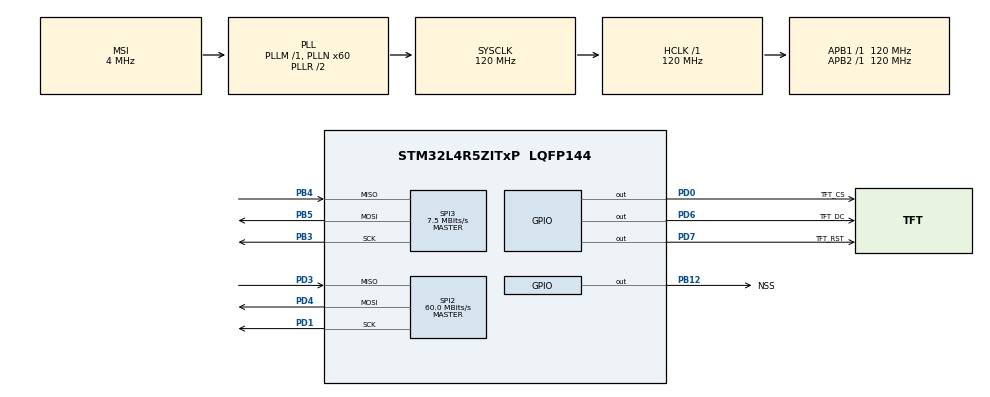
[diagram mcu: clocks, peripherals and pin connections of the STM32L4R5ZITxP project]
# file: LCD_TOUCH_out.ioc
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Mcu.Family=STM32L4
Mcu.Name=STM32L4R5ZITxP
Mcu.Package=LQFP144
NVIC.PriorityGroup=NVIC_PRIORITYGROUP_4
PB12.GPIO_Label=NSS
PB12.PinState=GPIO_PIN_SET
PB12.Signal=GPIO_Output
PB3\ (JTDO/TRACESWO).Mode=Full_Duplex_Master
PB3\ (JTDO/TRACESWO).Signal=SPI3_SCK
PB4\ (NJTRST).Mode=Full_Duplex_Master
PB4\ (NJTRST).Signal=SPI3_MISO
PB5.Mode=Full_Duplex_Master
PB5.Signal=SPI3_MOSI
PD0.GPIO_Label=TFT_CS
PD0.Signal=GPIO_Output
PD1.Mode=Full_Duplex_Master
PD1.Signal=SPI2_SCK
PD3.Mode=Full_Duplex_Master
PD3.Signal=SPI2_MISO
PD4.Mode=Full_Duplex_Master
PD4.Signal=SPI2_MOSI
PD6.GPIO_Label=TFT_DC
PD6.Signal=GPIO_Output
PD7.GPIO_Label=TFT_RST
PD7.Signal=GPIO_Output
ProjectManager.HeapSize=0x200
ProjectManager.StackSize=0x400
ProjectManager.TargetToolchain=STM32CubeIDE
RCC.ADCFreq_Value=16000000
RCC.AHBFreq_Value=120000000
RCC.APB1Freq_Value=120000000
RCC.APB1TimFreq_Value=120000000
RCC.APB2Freq_Value=120000000
RCC.APB2TimFreq_Value=120000000
RCC.CortexFreq_Value=120000000
RCC.HCLKFreq_Value=120000000
RCC.HSE_VALUE=8000000
RCC.HSI48_VALUE=48000000
RCC.HSI_VALUE=16000000
RCC.LSE_VALUE=32768
RCC.MSI_VALUE=4000000
RCC.PLLN=60
RCC.SYSCLKFreq_VALUE=120000000
RCC.SYSCLKSource=RCC_SYSCLKSOURCE_PLLCLK
RCC.USBFreq_Value=16000000
RCC.VCOOutputFreq_Value=240000000
SPI2.BaudRatePrescaler=SPI_BAUDRATEPRESCALER_2
SPI2.CLKPhase=SPI_PHASE_1EDGE
SPI2.CLKPolarity=SPI_POLARITY_LOW
SPI2.CalculateBaudRate=60.0 MBits/s
SPI2.DataSize=SPI_DATASIZE_8BIT
SPI2.Direction=SPI_DIRECTION_2LINES
SPI2.Mode=SPI_MODE_MASTER
SPI2.VirtualType=VM_MASTER
SPI3.BaudRatePrescaler=SPI_BAUDRATEPRESCALER_16
SPI3.CalculateBaudRate=7.5 MBits/s
SPI3.DataSize=SPI_DATASIZE_8BIT
SPI3.Direction=SPI_DIRECTION_2LINES
SPI3.Mode=SPI_MODE_MASTER
SPI3.VirtualType=VM_MASTER
board=custom

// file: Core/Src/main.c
/* USER CODE BEGIN Header */
/**
  ******************************************************************************
  * @file           : main.c
  * @brief          : Main program body
  ******************************************************************************
  * @attention
  *
  * Copyright (c) 2024 STMicroelectronics.
  * All rights reserved.
  *
  * This software is licensed under terms that can be found in the LICENSE file
  * in the root directory of this software component.
  * If no LICENSE file comes with this software, it is provided AS-IS.
  *
  ******************************************************************************
  */
/* USER CODE END Header */
#include "main.h"

/* USER CODE BEGIN Includes */
#include "008_Open_Sans_Bold.h"
#include "009_Open_Sans_Bold.h"
#include "010_Open_Sans_Bold.h"
#include "012_Open_Sans_Bold.h"
#include "014_Open_Sans_Bold.h"
#include "016_Open_Sans_Bold.h"
#include "018_Open_Sans_Bold.h"
#include "020_Open_Sans_Bold.h"
#include "022_Open_Sans_Bold.h"
#include "024_Open_Sans_Bold.h"
#include "026_Open_Sans_Bold.h"
#include "028_Open_Sans_Bold.h"
#include "036_Open_Sans_Bold.h"
#include "048_Open_Sans_Bold.h"
#include "072_Open_Sans_Bold.h"
#include "096_Open_Sans_Bold.h"
#include "112_Open_Sans_Bold.h"
#include "128_Open_Sans_Bold.h"

#define _Open_Sans_Bold_8      &Open_Sans_Bold_8
#define _Open_Sans_Bold_9      &Open_Sans_Bold_9
#define _Open_Sans_Bold_10     &Open_Sans_Bold_10
#define _Open_Sans_Bold_11     &Open_Sans_Bold_11
#define _Open_Sans_Bold_12      &Open_Sans_Bold_12
#define _Open_Sans_Bold_14      &Open_Sans_Bold_14
#define _Open_Sans_Bold_16      &Open_Sans_Bold_16
#define _Open_Sans_Bold_18      &Open_Sans_Bold_18
#define _Open_Sans_Bold_20      &Open_Sans_Bold_20
#define _Open_Sans_Bold_22      &Open_Sans_Bold_22
#define _Open_Sans_Bold_24      &Open_Sans_Bold_24
#define _Open_Sans_Bold_26      &Open_Sans_Bold_26
#define _Open_Sans_Bold_28      &Open_Sans_Bold_28
#define _Open_Sans_Bold_36      &Open_Sans_Bold_36
#define _Open_Sans_Bold_48      &Open_Sans_Bold_48
#define _Open_Sans_Bold_72      &Open_Sans_Bold_72
#define _Open_Sans_Bold_96      &Open_Sans_Bold_96
#define _Open_Sans_Bold_112      &Open_Sans_Bold_112
#define _Open_Sans_Bold_128      &Open_Sans_Bold_128

/* USER CODE END Includes */

SPI_HandleTypeDef hspi2;
SPI_HandleTypeDef hspi3;

void SystemClock_Config(void);
static void MX_GPIO_Init(void);
static void MX_SPI2_Init(void);
static void MX_SPI3_Init(void);

/* USER CODE BEGIN 0 */

/*
//1. Write Command to LCD
void ILI9488_SendCommand(uint8_t com)
{
	//*(__IO uint8_t *)(0x60000000) = com;
	uint8_t tmpCmd = com;
	//Set DC HIGH for COMMAND mode
	//HAL_GPIO_WritePin(tftDC_GPIO, tftDC_PIN, GPIO_PIN_RESET);
	HAL_GPIO_WritePin(GPIOD, GPIO_PIN_6, GPIO_PIN_RESET);
	//Put CS LOW
	HAL_GPIO_WritePin(GPIOD, GPIO_PIN_0, GPIO_PIN_RESET); //CHIP SELECT
	//Write byte using SPI
	HAL_SPI_Transmit(&hspi2, &tmpCmd, 1, 1);
	//SendByte(tmpCmd);
	//WaitLastData();
	HAL_GPIO_WritePin(GPIOD, GPIO_PIN_0, GPIO_PIN_SET);
	HAL_Delay(1);
	//Bring CS HIGH
	//HAL_GPIO_WritePin(tftCS_GPIO, tftCS_PIN, GPIO_PIN_SET);
}

//2. Write data to LCD
void ILI9488_SendData(uint8_t data)
{
	//*(__IO uint8_t *)(0x60000000) = com;
	uint8_t tmpCmd = data;
	//Set DC HIGH for COMMAND mode
	//HAL_GPIO_WritePin(tftDC_GPIO, tftDC_PIN, GPIO_PIN_RESET);
	HAL_GPIO_WritePin(GPIOD, GPIO_PIN_6, GPIO_PIN_SET);
	//Put CS LOW
	HAL_GPIO_WritePin(GPIOD, GPIO_PIN_0, GPIO_PIN_RESET); //CHIP SELECT
	//Write byte using SPI
	HAL_SPI_Transmit(&hspi2, &tmpCmd, 1, 1);
	//SendByte(tmpCmd);
	//WaitLastData();
	HAL_GPIO_WritePin(GPIOD, GPIO_PIN_0, GPIO_PIN_SET);
	//Bring CS HIGH
	//HAL_GPIO_WritePin(tftCS_GPIO, tftCS_PIN, GPIO_PIN_SET);
}
*/
/* USER CODE END 0 */

int main(void)
{

  /* USER CODE BEGIN 1 */
	int16_t x;
	int16_t y;

  /* USER CODE END 1 */

  /* MCU Configuration--------------------------------------------------------*/

  /* Reset of all peripherals, Initializes the Flash interface and the Systick. */
  HAL_Init();

  /* Configure the system clock */
  SystemClock_Config();

  /* Initialize all configured peripherals */
  MX_GPIO_Init();
  MX_SPI2_Init();
  MX_SPI3_Init();
  /* USER CODE BEGIN 2 */
/*
  //RESET LCD
	HAL_GPIO_WritePin(GPIOD, GPIO_PIN_7, GPIO_PIN_RESET);
	HAL_Delay(100);
	HAL_GPIO_WritePin(GPIOD, GPIO_PIN_7, GPIO_PIN_SET);
	HAL_Delay(50);

  //BEGIN INIT CODE (ngl don't know whats happening here but hope it works lel)
  	ILI9488_SendCommand(0XF7);
	ILI9488_SendData(0xA9);
	ILI9488_SendData(0x51);
	ILI9488_SendData(0x2C);
	ILI9488_SendData(0x82);
	ILI9488_SendCommand(0xC0);
	ILI9488_SendData(0x11);
	ILI9488_SendData(0x09);
	ILI9488_SendCommand(0xC1);
	ILI9488_SendData(0x41);
	ILI9488_SendCommand(0XC5);
	ILI9488_SendData(0x00);
	ILI9488_SendData(0x0A);
	ILI9488_SendData(0x80);
	ILI9488_SendCommand(0xB1);
	ILI9488_SendData(0xB0);
	ILI9488_SendData(0x11);
	ILI9488_SendCommand(0xB4);
	ILI9488_SendData(0x02);
	ILI9488_SendCommand(0xB6);
	ILI9488_SendData(0x02);
	ILI9488_SendData(0x42);
	ILI9488_SendCommand(0xB7);
	ILI9488_SendData(0xc6);
	ILI9488_SendCommand(0xBE);
	ILI9488_SendData(0x00);
	ILI9488_SendData(0x04);
	ILI9488_SendCommand(0xE9);
	ILI9488_SendData(0x00);
	ILI9488_SendCommand(0x36);
	ILI9488_SendData((1<<3)|(0<<7)|(1<<6)|(1<<5));
	ILI9488_SendCommand(0x3A);
	ILI9488_SendData(0x66);
	ILI9488_SendCommand(0xE0);
	ILI9488_SendData(0x00);
	ILI9488_SendData(0x07);
	ILI9488_SendData(0x10);
	ILI9488_SendData(0x09);
	ILI9488_SendData(0x17);
	ILI9488_SendData(0x0B);
	ILI9488_SendData(0x41);
	ILI9488_SendData(0x89);
	ILI9488_SendData(0x4B);
	ILI9488_SendData(0x0A);
	ILI9488_SendData(0x0C);
	ILI9488_SendData(0x0E);
	ILI9488_SendData(0x18);
	ILI9488_SendData(0x1B);
	ILI9488_SendData(0x0F);
	ILI9488_SendCommand(0XE1);
	ILI9488_SendData(0x00);
	ILI9488_SendData(0x17);
	ILI9488_SendData(0x1A);
	ILI9488_SendData(0x04);
	ILI9488_SendData(0x0E);
	ILI9488_SendData(0x06);
	ILI9488_SendData(0x2F);
	ILI9488_SendData(0x45);
	ILI9488_SendData(0x43);
	ILI9488_SendData(0x02);
	ILI9488_SendData(0x0A);
	ILI9488_SendData(0x09);
	ILI9488_SendData(0x32);
	ILI9488_SendData(0x36);
	ILI9488_SendData(0x0F);
	ILI9488_SendCommand(0x11);
	HAL_Delay(120);
	ILI9488_SendCommand(0x29);
	ILI9488_SendCommand(0x36);
	ILI9488_SendData((1<<3)|(0<<6)|(0<<7));//BGR==1,MY==0,MX==0,MV==0\

  	//SET DIRECTION [HORIZONTAL]
	ILI9488_SendCommand(0x2A); //set window size. x direction. In this case, we're taking the entire display.
	ILI9488_SendData(0>>8);
	ILI9488_SendData(0x00FF&0);
	ILI9488_SendData(479>>8);
	ILI9488_SendData(0x00FF&479>>8);

	ILI9488_SendCommand(0x2B); //set window size. y direction. In this case, we're taking the entire display.
	ILI9488_SendData(0>>8);
	ILI9488_SendData(0x00FF&0);
	ILI9488_SendData(479>>8);
	ILI9488_SendData(0x00FF&479	);

	ILI9488_SendCommand(0x2C); //display ram prep command

	//START WRITING WHITE SCREEN:
	unsigned int i,m;
	HAL_GPIO_WritePin(GPIOD, GPIO_PIN_0, GPIO_PIN_RESET); //LCD CHIP SELECT
	HAL_GPIO_WritePin(GPIOD, GPIO_PIN_7, GPIO_PIN_SET); //SET LCD TO RESET

	for(i=0;i<319;i++)
		{
	    for(m=0;m<479;m++)
	    {
				ILI9488_SendData((0x07FF>>8)&0xF8);//RED
				ILI9488_SendData((0x07FF>>3)&0xFC);//GREEN
				ILI9488_SendData(0x07FF<<3);//BLUE
			}
		}
	HAL_GPIO_WritePin(GPIOD, GPIO_PIN_0, GPIO_PIN_SET); //LCD CHIP SELECT
*/
  ILI9488_Init();
HAL_Delay(1000);
setRotation(1);
fillScreen(ILI9488_WHITE);

   uint16_t touchX = 0, touchY = 0;

  /* USER CODE END 2 */

  /* Infinite loop */
  /* USER CODE BEGIN WHILE */

   //the keys:

   uint8_t Sunday = 0;
   uint8_t Monday = 0;
   uint8_t Tuesday = 0;
   uint8_t Wednesday = 0;
   uint8_t Thursday = 0;
   uint8_t Friday = 0;
   uint8_t Saturday = 0;

   char addSunday[] = "SUN";
   char addMonday[] = "MON";
   char addTuesday[] = "TUE";
   char addWednesday[] = "WED";
   char addThursday[] = "THU";
   char addFriday[] = "FRI";
   char addSaturday[] = "SAT";
   char addNext[] = "Next";

   //Sunday
   fillRect(65, 30,75,75, ILI9488_RED);

   //Monday
   fillRect(150, 30,75,75, ILI9488_RED);

   //Tuesday
   fillRect(235, 30,75,75, ILI9488_RED);

   //Wednesday
   fillRect(320, 30,75,75, ILI9488_RED);

   //char addSunday[] = "S";

   //Thursday
   fillRect(105, 120,75,75, ILI9488_RED);

   //Friday
   fillRect(190, 120,75,75, ILI9488_RED);

   //Saturday
   fillRect(275, 120,75,75, ILI9488_RED);

   //Next button
   fillRect(50, 250, 350, 50, ILI9488_RED);

   LCD_Font(85, 70, addSunday, _Open_Sans_Bold_20, 1, ILI9488_BLACK);
   LCD_Font(160, 70, addMonday, _Open_Sans_Bold_20, 1, ILI9488_BLACK);
   LCD_Font(255, 70, addTuesday, _Open_Sans_Bold_20, 1, ILI9488_BLACK);
   LCD_Font(335, 70, addWednesday, _Open_Sans_Bold_20, 1, ILI9488_BLACK);
   LCD_Font(125, 160, addThursday, _Open_Sans_Bold_20, 1, ILI9488_BLACK);
   LCD_Font(210, 160, addFriday, _Open_Sans_Bold_20, 1, ILI9488_BLACK);
   LCD_Font(295, 160, addSaturday, _Open_Sans_Bold_20, 1, ILI9488_BLACK);

   LCD_Font(200, 285, addNext, _Open_Sans_Bold_20, 1, ILI9488_BLACK);

   //fillRect(125, 130,250,75, ILI9488_RED);
     //char scanFing[] = "Scan Fingerprint";

    //LCD_Font(165, 170, scanFing, _Open_Sans_Bold_20, 1, ILI9488_BLACK);

    //fillRect(125, 230,250,75, ILI9488_RED);
         //char delFing[] = "Delete Fingerprint";

    //LCD_Font(165, 270, delFing, _Open_Sans_Bold_20, 1, ILI9488_BLACK);

   //fillRect(125, 75,250,75, ILI9488_RED);
      //char addFing[] = "Add Fingerprint";

   //LCD_Font(165, 115, addFing, _Open_Sans_Bold_20, 1, ILI9488_BLACK);

  while (1)
  {
	  //ILI9488_printTextTest(greetings, 25, 25, ILI9488_BLACK, ILI9488_RED, 3);

	  char buf[20];
	  char buf1[20];
	  //char buf2[20];
	  //char buf3[20];

	  	  //ILI9488_printTextTest(buf1, 250 , 25, ILI9488_BLACK, ILI9488_WHITE, 2);
	  	 //ILI9488_printText(buf3, 150, 25, ILI9488_WHITE, ILI9488_WHITE, 1);
	  	  LCD_Font(25, 25, buf1, _Open_Sans_Bold_20, 1, ILI9488_WHITE);
	  	  touchX = getX();
	  	  touchY = getY();
	  	  sprintf(buf,"x=%3d y=%3d",touchX,touchY);
	  	  sprintf(buf1,"x=%3d y=%3d",touchX,touchY);
	  	  //sprintf(buf2,"count=%3d entered=%3d",count,entered[count]);
	  	  //sprintf(buf3,"count=%3d entered=%3d",count,entered[count]);

	  	  //ILI9488_printTextTest(buf1, 250, 25, ILI9488_BLACK,  ILI9488_WHITE, 2);
	  	  //ILI9488_printText(buf3, 150, 25, ILI9488_BLACK, ILI9488_BLACK, 1);
	  	  LCD_Font(25, 25, buf1, _Open_Sans_Bold_20, 1, ILI9488_BLACK);

	  	  //Sunday.
	  	  /*
	  	   6, 52
			88, 55
			6, 161
			88, 161
	  	   */

	  	  if(touchX >= 6 && touchX < 88 && touchY >= 55 && touchY < 161){
	  		  if(Sunday == 0){
	  			  fillRect(65, 30,75,75, ILI9488_GREEN);
	  			  LCD_Font(85, 70, addSunday, _Open_Sans_Bold_20, 1, ILI9488_BLACK);
	  			  Sunday = 1;
	  			  HAL_Delay(300);
	  		  }
	  		  else{
	  			  Sunday = 0;
	  			  fillRect(65, 30,75,75, ILI9488_RED);
	  			  LCD_Font(85, 70, addSunday, _Open_Sans_Bold_20, 1, ILI9488_BLACK);
	  			  HAL_Delay(300);

	  		  }
	  	  }

	  	  /*
	  	   * Monday
			88, 55
			221, 55
			88, 67
			221, 161
	  	   */
	  	if(touchX >= 88 && touchX < 221 && touchY >= 55 && touchY < 161){
	  		  		  if(Monday == 0){
	  		  			  fillRect(150, 30,75,75, ILI9488_GREEN);
	  		  			  LCD_Font(160, 70, addMonday, _Open_Sans_Bold_20, 1, ILI9488_BLACK);
	  		  			  Monday = 1;
	  		  			  HAL_Delay(300);
	  		  		  }
	  		  		  else{
	  		  			  Monday = 0;
	  		  			  fillRect(150, 30,75,75, ILI9488_RED);
	  		  			  LCD_Font(160, 70, addMonday, _Open_Sans_Bold_20, 1, ILI9488_BLACK);
	  		  			  HAL_Delay(300);

	  		  		  }
	  		  	  }

	  	  /*Tuesday
			248, 55
			299, 61
			245, 161
			299, 163*/
		if(touchX >= 245 && touchX < 299 && touchY >= 55 && touchY < 161){
		  		  		  if(Tuesday == 0){
		  		  			  fillRect(235, 30,75,75, ILI9488_GREEN);
		  		  			  LCD_Font(255, 70, addTuesday, _Open_Sans_Bold_20, 1, ILI9488_BLACK);
		  		  			  Tuesday = 1;
		  		  			  HAL_Delay(300);
		  		  		  }
		  		  		  else{
		  		  			  Tuesday = 0;
		  		  			  fillRect(235, 30,75,75, ILI9488_RED);
		  		  			  LCD_Font(255, 70, addTuesday, _Open_Sans_Bold_20, 1, ILI9488_BLACK);
		  		  			  HAL_Delay(300);

		  		  		  }
		  		  	  }

	  	/*Wednesday:
	  	 * 	308, 67
			390, 67
			317, 161
			392, 165
	  	 *
	  	 *
	  	 */
		if(touchX >= 308 && touchX < 390 && touchY >= 67 && touchY < 161){
				  		  		  if(Wednesday == 0){
				  		  			  fillRect(320, 30,75,75, ILI9488_GREEN);
				  		  			  LCD_Font(335, 70, addWednesday, _Open_Sans_Bold_20, 1, ILI9488_BLACK);
				  		  			  Wednesday = 1;
				  		  			  HAL_Delay(300);
				  		  		  }
				  		  		  else{
				  		  			  Wednesday = 0;
				  		  			  fillRect(320, 30,75,75, ILI9488_RED);
				  		  			  LCD_Font(335, 70, addWednesday, _Open_Sans_Bold_20, 1, ILI9488_BLACK);
				  		  			  HAL_Delay(300);

				  		  		  }
				  		  	  }

	  	/*:Thursday
	  		  	75, 165
				97, 165
				75, 207
				97, 207
	  		  	 */
		if(touchX >= 75 && touchX < 97 && touchY >= 165 && touchY < 207){
						  		  		  if(Thursday == 0){
						  		  			  fillRect(105, 120,75,75, ILI9488_GREEN);
						  		  			  LCD_Font(125, 160, addThursday, _Open_Sans_Bold_20, 1, ILI9488_BLACK);
						  		  			  Thursday = 1;
						  		  			  HAL_Delay(300);
						  		  		  }
						  		  		  else{
						  		  			  Thursday = 0;
						  		  			  fillRect(105, 120,75,75, ILI9488_RED);
						  		  			  LCD_Font(125, 160, addThursday, _Open_Sans_Bold_20, 1, ILI9488_BLACK);
						  		  			  HAL_Delay(300);

						  		  		  }
						  		  	  }

	  		  /*Friday:
	  		  * 184, 165
				184, 216
				258, 166
				258, 207
	  		  	  		  	 */
		if(touchX >= 184 && touchX < 258 && touchY >= 165 && touchY < 207){
								  		  		  if(Friday == 0){
								  		  			  fillRect(190, 120,75,75, ILI9488_GREEN);
								  		  			  LCD_Font(210, 160, addFriday, _Open_Sans_Bold_20, 1, ILI9488_BLACK);
								  		  			  Friday = 1;
								  		  			  HAL_Delay(300);
								  		  		  }
								  		  		  else{
								  		  			  Friday = 0;
								  		  			  fillRect(190, 120,75,75, ILI9488_RED);
								  		  			  LCD_Font(210, 160, addFriday, _Open_Sans_Bold_20, 1, ILI9488_BLACK);
								  		  			  HAL_Delay(300);

								  		  		  }
								  		  	  }

	  		/*Saturday:
	  		262, 165
			262, 207
			335, 165
			345, 207*/

			 if(touchX >= 262 && touchX < 335 && touchY >= 165 && touchY < 207){
															  if(Saturday == 0){
																  fillRect(275, 120,75,75, ILI9488_GREEN);
																  LCD_Font(295, 160, addSaturday, _Open_Sans_Bold_20, 1, ILI9488_BLACK);
																  Saturday = 1;
																  HAL_Delay(300);
															  }
															  else{
																  Saturday = 0;
																  fillRect(275, 120,75,75, ILI9488_RED);
																  LCD_Font(295, 160, addSaturday, _Open_Sans_Bold_20, 1, ILI9488_BLACK);
																  HAL_Delay(300);

															  }
														  }

	  		/*Next Button:
	  		 *6, 265
			399, 265
			6, 306
			392, 306
	  			  			  		  	  		  	 */
			 if(touchX >= 6 && touchX < 392 && touchY >= 265 && touchY < 306){
				 	 	fillRect(50, 250, 350, 50, ILI9488_GREEN);
				  		HAL_Delay(300);
				  		fillRect(50, 250, 350, 50, ILI9488_RED);
				  		LCD_Font(200, 285, addNext, _Open_Sans_Bold_20, 1, ILI9488_BLACK);
				  	  }

	  			  			  		  	  		  	/*else
	  			  			  		  	  		  		fillRect(200, 230,75,75, ILI9488_RED);*/

	  		/*9th box:
	  		 * 299, 242
	  		 * 381, 242
	  		 * 299, 309
	  		 * 372, 309
	  		 */
	  		//if(touchX >= 299 && touchX < 372 && touchY >= 242 && touchY < 309){
	  		//	fillRect(300, 230,75,75, ILI9488_GREEN);
	  		//	HAL_Delay(1000);
	  		//	entered[count] = 9;
	  		//		  			  		count++;
	  		//		  			  	if(count > 9)
	  		//		  			  		  			break;
	  		//}

	  			  			  			  		  	  		  	/*else
	  			  			  			  		  	  		  		fillRect(300, 230,75,75, ILI9488_RED);*/

	  		//HAL_Delay(1000);

    /* USER CODE END WHILE */

  }
}

void SystemClock_Config(void)
{
  RCC_OscInitTypeDef RCC_OscInitStruct = {0};
  RCC_ClkInitTypeDef RCC_ClkInitStruct = {0};

  /** Configure the main internal regulator output voltage
  */
  if (HAL_PWREx_ControlVoltageScaling(PWR_REGULATOR_VOLTAGE_SCALE1_BOOST) != HAL_OK)
  {
    Error_Handler();
  }

  /** Initializes the RCC Oscillators according to the specified parameters
  * in the RCC_OscInitTypeDef structure.
  */
  RCC_OscInitStruct.OscillatorType = RCC_OSCILLATORTYPE_MSI;
  RCC_OscInitStruct.MSIState = RCC_MSI_ON;
  RCC_OscInitStruct.MSICalibrationValue = 0;
  RCC_OscInitStruct.MSIClockRange = RCC_MSIRANGE_6;
  RCC_OscInitStruct.PLL.PLLState = RCC_PLL_ON;
  RCC_OscInitStruct.PLL.PLLSource = RCC_PLLSOURCE_MSI;
  RCC_OscInitStruct.PLL.PLLM = 1;
  RCC_OscInitStruct.PLL.PLLN = 60;
  RCC_OscInitStruct.PLL.PLLP = RCC_PLLP_DIV2;
  RCC_OscInitStruct.PLL.PLLQ = RCC_PLLQ_DIV2;
  RCC_OscInitStruct.PLL.PLLR = RCC_PLLR_DIV2;
  if (HAL_RCC_OscConfig(&RCC_OscInitStruct) != HAL_OK)
  {
    Error_Handler();
  }

  /** Initializes the CPU, AHB and APB buses clocks
  */
  RCC_ClkInitStruct.ClockType = RCC_CLOCKTYPE_HCLK|RCC_CLOCKTYPE_SYSCLK
                              |RCC_CLOCKTYPE_PCLK1|RCC_CLOCKTYPE_PCLK2;
  RCC_ClkInitStruct.SYSCLKSource = RCC_SYSCLKSOURCE_PLLCLK;
  RCC_ClkInitStruct.AHBCLKDivider = RCC_SYSCLK_DIV1;
  RCC_ClkInitStruct.APB1CLKDivider = RCC_HCLK_DIV1;
  RCC_ClkInitStruct.APB2CLKDivider = RCC_HCLK_DIV1;

  if (HAL_RCC_ClockConfig(&RCC_ClkInitStruct, FLASH_LATENCY_5) != HAL_OK)
  {
    Error_Handler();
  }
}

static void MX_SPI2_Init(void)
{

  /* SPI2 parameter configuration*/
  hspi2.Instance = SPI2;
  hspi2.Init.Mode = SPI_MODE_MASTER;
  hspi2.Init.Direction = SPI_DIRECTION_2LINES;
  hspi2.Init.DataSize = SPI_DATASIZE_8BIT;
  hspi2.Init.CLKPolarity = SPI_POLARITY_LOW;
  hspi2.Init.CLKPhase = SPI_PHASE_1EDGE;
  hspi2.Init.NSS = SPI_NSS_SOFT;
  hspi2.Init.BaudRatePrescaler = SPI_BAUDRATEPRESCALER_2;
  hspi2.Init.FirstBit = SPI_FIRSTBIT_MSB;
  hspi2.Init.TIMode = SPI_TIMODE_DISABLE;
  hspi2.Init.CRCCalculation = SPI_CRCCALCULATION_DISABLE;
  hspi2.Init.CRCPolynomial = 7;
  hspi2.Init.CRCLength = SPI_CRC_LENGTH_DATASIZE;
  hspi2.Init.NSSPMode = SPI_NSS_PULSE_ENABLE;
  if (HAL_SPI_Init(&hspi2) != HAL_OK)
  {
    Error_Handler();
  }

}

static void MX_SPI3_Init(void)
{

  /* SPI3 parameter configuration*/
  hspi3.Instance = SPI3;
  hspi3.Init.Mode = SPI_MODE_MASTER;
  hspi3.Init.Direction = SPI_DIRECTION_2LINES;
  hspi3.Init.DataSize = SPI_DATASIZE_8BIT;
  hspi3.Init.CLKPolarity = SPI_POLARITY_LOW;
  hspi3.Init.CLKPhase = SPI_PHASE_1EDGE;
  hspi3.Init.NSS = SPI_NSS_SOFT;
  hspi3.Init.BaudRatePrescaler = SPI_BAUDRATEPRESCALER_16;
  hspi3.Init.FirstBit = SPI_FIRSTBIT_MSB;
  hspi3.Init.TIMode = SPI_TIMODE_DISABLE;
  hspi3.Init.CRCCalculation = SPI_CRCCALCULATION_DISABLE;
  hspi3.Init.CRCPolynomial = 7;
  hspi3.Init.CRCLength = SPI_CRC_LENGTH_DATASIZE;
  hspi3.Init.NSSPMode = SPI_NSS_PULSE_ENABLE;
  if (HAL_SPI_Init(&hspi3) != HAL_OK)
  {
    Error_Handler();
  }

}

static void MX_GPIO_Init(void)
{
  GPIO_InitTypeDef GPIO_InitStruct = {0};

  /* GPIO Ports Clock Enable */
  __HAL_RCC_GPIOB_CLK_ENABLE();
  __HAL_RCC_GPIOD_CLK_ENABLE();

  /*Configure GPIO pin Output Level */
  HAL_GPIO_WritePin(NSS_GPIO_Port, NSS_Pin, GPIO_PIN_SET);

  /*Configure GPIO pin Output Level */
  HAL_GPIO_WritePin(GPIOD, TFT_CS_Pin|TFT_DC_Pin|TFT_RST_Pin, GPIO_PIN_RESET);

  /*Configure GPIO pin : NSS_Pin */
  GPIO_InitStruct.Pin = NSS_Pin;
  GPIO_InitStruct.Mode = GPIO_MODE_OUTPUT_PP;
  GPIO_InitStruct.Pull = GPIO_NOPULL;
  GPIO_InitStruct.Speed = GPIO_SPEED_FREQ_LOW;
  HAL_GPIO_Init(NSS_GPIO_Port, &GPIO_InitStruct);

  /*Configure GPIO pins : TFT_CS_Pin TFT_DC_Pin TFT_RST_Pin */
  GPIO_InitStruct.Pin = TFT_CS_Pin|TFT_DC_Pin|TFT_RST_Pin;
  GPIO_InitStruct.Mode = GPIO_MODE_OUTPUT_PP;
  GPIO_InitStruct.Pull = GPIO_NOPULL;
  GPIO_InitStruct.Speed = GPIO_SPEED_FREQ_LOW;
  HAL_GPIO_Init(GPIOD, &GPIO_InitStruct);

}

void Error_Handler(void)
{
  __disable_irq();
  while (1)
  {
  }
}
